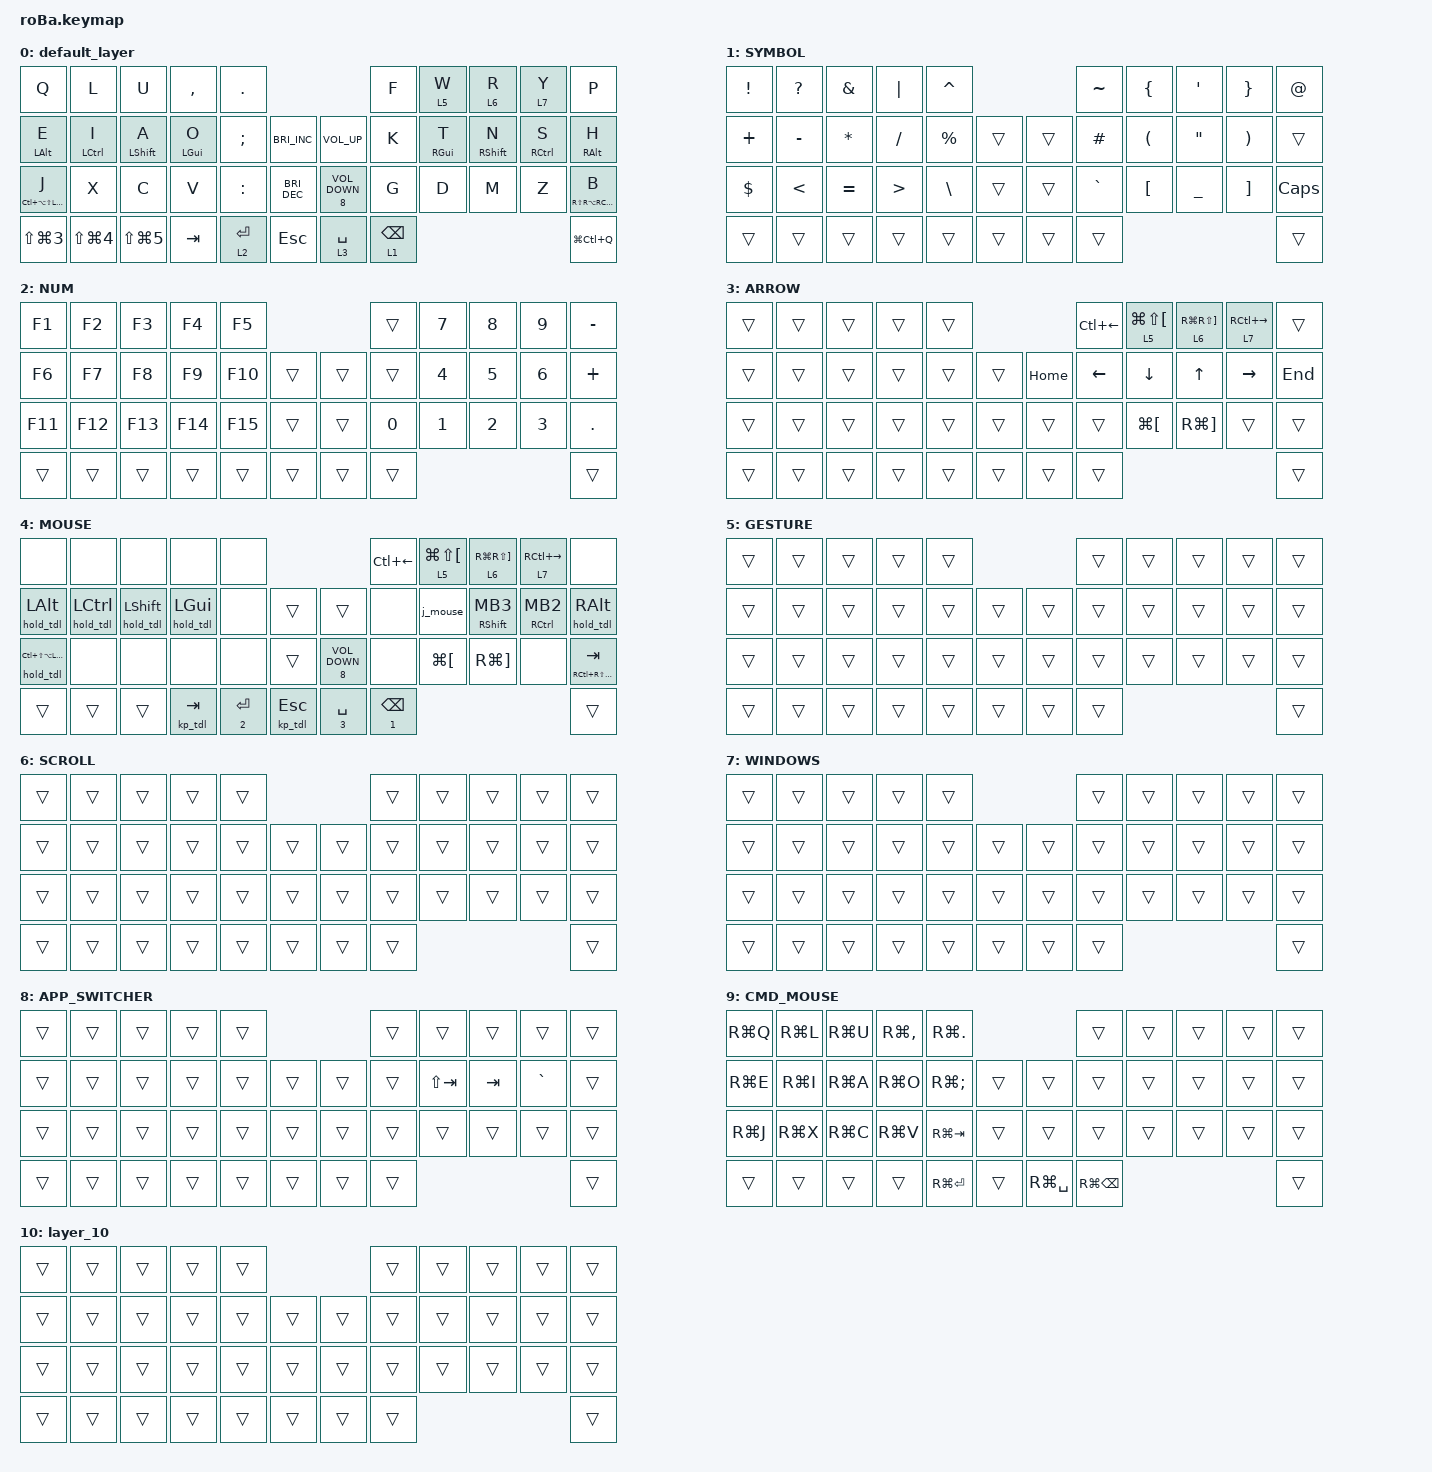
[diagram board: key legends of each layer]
#include <behaviors.dtsi>
#include <dt-bindings/zmk/keys.h>
#include <dt-bindings/zmk/pointing.h>

&mt {
    flavor = "balanced";
    quick-tap-ms = <0>;
};

&trackball {
    automouse-layer = <4>;
    scroll-layers = <6>;

    gesture {
        layers = <5>;
        bindings =
            <&kp LG(LC(F))>,
            <&kp LA(LC(LEFT_ARROW))>,
            <&kp LA(LC(UP_ARROW))>,
            <&kp LA(LC(DOWN_ARROW))>;

        tick = <120>;
        wait-ms = <5>;
        tap-ms = <5>;
    };

    window {
        layers = <7>;
        bindings =
            <&kp LG(LC(RIGHT_ARROW))>,
            <&kp LG(LC(LEFT_ARROW))>,
            <&kp LG(LC(UP_ARROW))>,
            <&kp LG(LC(DOWN_ARROW))>;

        tick = <120>;
        wait-ms = <5>;
        tap-ms = <5>;
    };
};

/ {
    combos {
        compatible = "zmk,combos";

        kana {
            bindings = <&mt_tdl RS(RIGHT_GUI) LANGUAGE_1>;
            key-positions = <18 19>;
        };

        eisuu {
            bindings = <&mt_tdl LS(LEFT_GUI) LANGUAGE_2>;
            key-positions = <13 12>;
        };

        mute {
            bindings = <&kp K_MUTE>;
            key-positions = <16 28>;
        };

        xn {
            bindings = <&xn_macro>;
            key-positions = <20 19>;
        };
    };

    macros {
        kp_tdl: to_layer_0 {
            compatible = "zmk,behavior-macro-one-param";
            #binding-cells = <1>;
            bindings = <&to 0 &macro_param_1to1 &kp MACRO_PLACEHOLDER>;
            label = "TO_LAYER_0";
        };

        hold_tdl: to_layer_0_hold {
            compatible = "zmk,behavior-macro-one-param";
            #binding-cells = <1>;
            bindings =
                <&to 0>,
                <&macro_press>,
                <&macro_param_1to1 &kp MACRO_PLACEHOLDER>,
                <&macro_pause_for_release>,
                <&macro_release>,
                <&macro_param_1to1 &kp MACRO_PLACEHOLDER>;

            label = "TO_LAYER_0_HOLD";
        };

        hold_tdl_aml: to_layer_0_hold_aml {
            compatible = "zmk,behavior-macro-one-param";
            #binding-cells = <1>;
            wait-ms = <0>;
            tap-ms = <0>;
            bindings =
                <&to 0>,
                <&macro_press>,
                <&macro_param_1to1 &kp MACRO_PLACEHOLDER>,
                <&macro_pause_for_release>,
                <&macro_release>,
                <&macro_param_1to1 &kp MACRO_PLACEHOLDER>;

            label = "TO_LAYER_0_HOLD_AML";
        };

        j_mouse: j_cmd_mouse {
            compatible = "zmk,behavior-macro";
            #binding-cells = <0>;
            wait-ms = <0>;
            tap-ms = <0>;
            bindings =
                <&macro_press>,
                <&mo 9 &mkp MB1>,
                <&macro_pause_for_release>,
                <&macro_release>,
                <&mo 9 &mkp MB1>;

            label = "J_CMD_MOUSE";
        };

        mo_tdl: to_layer_0_mo {
            compatible = "zmk,behavior-macro-one-param";
            #binding-cells = <1>;
            bindings =
                <&to 0>,
                <&macro_press>,
                <&macro_param_1to1 &mo MACRO_PLACEHOLDER>,
                <&macro_pause_for_release>,
                <&macro_release>,
                <&macro_param_1to1 &mo MACRO_PLACEHOLDER>;

            label = "TO_LAYER_0_MO";
        };

        as: hold_app_switch {
            compatible = "zmk,behavior-macro-one-param";
            #binding-cells = <1>;
            wait-ms = <0>;
            tap-ms = <0>;
            bindings =
                <&macro_press>,
                <&macro_param_1to1 &mo MACRO_PLACEHOLDER &kp LEFT_GUI>,
                <&macro_pause_for_release>,
                <&macro_release>,
                <&macro_param_1to1 &mo MACRO_PLACEHOLDER &kp LEFT_GUI>;
        };

        as_tdl: as_tdl {
            compatible = "zmk,behavior-macro-one-param";
            #binding-cells = <1>;
            wait-ms = <0>;
            tap-ms = <0>;
            bindings =
                <&to 0>,
                <&macro_press>,
                <&macro_param_1to1 &mo MACRO_PLACEHOLDER &kp LEFT_GUI>,
                <&macro_pause_for_release>,
                <&macro_release>,
                <&macro_param_1to1 &mo MACRO_PLACEHOLDER &kp LEFT_GUI>;

            label = "AS_TDL";
        };

        xn_macro: zn_macro {
            compatible = "zmk,behavior-macro";
            #binding-cells = <0>;
            bindings = <&kp X &kp N>;
            label = "ZN_MACRO";
        };
    };

    behaviors {
        behaviors {
            my_lt: my_lt {
                compatible = "zmk,behavior-hold-tap";
                label = "MY_LT";
                #binding-cells = <2>;
                flavor = "hold-preferred";
                tapping-term-ms = <150>;
                quick-tap-ms = <200>;
                bindings = <&mo>, <&kp>;
            };

            my_mt: my_mt {
                compatible = "zmk,behavior-hold-tap";
                label = "MY_MT";
                bindings = <&kp>, <&kp>;

                #binding-cells = <2>;
                tapping-term-ms = <150>;
                hold-while-undecided;
            };

            hrm_r: hrm_r {
                compatible = "zmk,behavior-hold-tap";
                label = "HRM Right";
                bindings = <&kp>, <&kp>;

                #binding-cells = <2>;
                hold-trigger-key-positions = <0 1 2 3 4 10 11 12 13 14 15 22 23 24 25 26 27 34 35 36 37 38 39 41 40>;
                flavor = "balanced";
                tapping-term-ms = <250>;
                retro-tap;
                quick-tap-ms = <150>;
                require-prior-idle-ms = <120>;
                hold-trigger-on-release;
            };

            hrm_l: hrm_l {
                compatible = "zmk,behavior-hold-tap";
                label = "HRM_L";
                bindings = <&kp>, <&kp>;

                #binding-cells = <2>;
                flavor = "balanced";
                tapping-term-ms = <250>;
                hold-trigger-key-positions = <5 6 7 8 9 16 17 18 19 20 21 28 29 30 31 32 33 40 41 42 37 38 39>;
                retro-tap;
                quick-tap-ms = <150>;
                require-prior-idle-ms = <120>;
                hold-trigger-on-release;
            };

            mt_tdl: mt_tdl {
                compatible = "zmk,behavior-hold-tap";
                label = "MT_TDL";
                bindings = <&hold_tdl>, <&kp_tdl>;

                #binding-cells = <2>;
                tapping-term-ms = <150>;
                hold-while-undecided;
            };

            lt_tdl: lt_tdl {
                compatible = "zmk,behavior-hold-tap";
                label = "LT_TDL";
                #binding-cells = <2>;
                flavor = "hold-preferred";
                tapping-term-ms = <150>;
                bindings = <&mo_tdl>, <&kp_tdl>;

                hold-while-undecided;
            };

            lt_aml: lt_aml {
                compatible = "zmk,behavior-hold-tap";
                label = "LT_AML";
                #binding-cells = <2>;
                flavor = "balanced";
                tapping-term-ms = <150>;
                quick-tap-ms = <200>;
                require-prior-idle-ms = <175>;
                bindings = <&mo>, <&kp>;

                hold-while-undecided;
            };

            lt_as: lt_as {
                compatible = "zmk,behavior-hold-tap";
                label = "LT_AS";
                #binding-cells = <2>;
                flavor = "hold-preferred";
                tapping-term-ms = <150>;
                quick-tap-ms = <200>;
                bindings = <&as>, <&kp>;
            };

            lt_as_tdl: lt_as_tdl {
                compatible = "zmk,behavior-hold-tap";
                label = "LT_AS_TDL";
                #binding-cells = <2>;
                flavor = "hold-preferred";
                tapping-term-ms = <150>;
                bindings = <&as_tdl>, <&kp_tdl>;

                hold-while-undecided;
            };

            mt_aml: mt_aml {
                compatible = "zmk,behavior-hold-tap";
                label = "MT_AML";
                bindings = <&hold_tdl>, <&mkp>;

                #binding-cells = <2>;
                tapping-term-ms = <150>;
                hold-while-undecided;
            };
        };
    };

    keymap {
        compatible = "zmk,keymap";

        default_layer {
            bindings = <
&kp Q                          &kp L                  &kp U                &kp COMMA          &kp PERIOD                                                        &kp F               &lt_aml 5 W         &lt_aml 6 R           &lt_aml 7 Y             &kp P
&hrm_l LEFT_ALT E              &hrm_l LEFT_CONTROL I  &hrm_l LEFT_SHIFT A  &hrm_l LEFT_GUI O  &kp SEMICOLON   &kp C_BRIGHTNESS_INC      &kp C_VOLUME_UP         &kp K               &hrm_r RIGHT_GUI T  &hrm_r RIGHT_SHIFT N  &hrm_r RIGHT_CONTROL S  &hrm_r RIGHT_ALT H
&hrm_l LC(LA(LS(LEFT_GUI))) J  &kp X                  &kp C                &kp V              &kp COLON       &kp C_BRIGHTNESS_DEC      &lt_as 8 C_VOLUME_DOWN  &kp G               &kp D               &kp M                 &kp Z                   &hrm_r RS(RA(RC(RIGHT_GUI))) B
&kp LS(LG(NUMBER_3))           &kp LS(LG(NUMBER_4))   &kp LS(LG(N5))       &kp TAB            &my_lt 2 ENTER  &kp ESCAPE                &my_lt 3 SPACE          &my_lt 1 BACKSPACE                                                                    &kp LG(LC(Q))
            >;
        };

        SYMBOL {
            bindings = <
&kp EXCLAMATION  &kp QUESTION   &kp AMPERSAND  &kp PIPE          &kp CARET                          &kp TILDE  &kp LEFT_BRACE        &kp APOSTROPHE     &kp RIGHT_BRACE        &kp AT
&kp PLUS         &kp MINUS      &kp ASTRK      &kp FSLH          &kp PERCENT    &trans      &trans  &kp HASH   &kp LEFT_PARENTHESIS  &kp DOUBLE_QUOTES  &kp RIGHT_PARENTHESIS  &trans
&kp DOLLAR       &kp LESS_THAN  &kp EQUAL      &kp GREATER_THAN  &kp BACKSLASH  &trans      &trans  &kp GRAVE  &kp LEFT_BRACKET      &kp UNDERSCORE     &kp RIGHT_BRACKET      &kp CAPSLOCK
&trans           &trans         &trans         &trans            &trans         &trans      &trans  &trans                                                                     &trans
            >;
        };

        NUM {
            bindings = <
&kp F1   &kp F2   &kp F3   &kp F4   &kp F5                       &trans  &kp N7  &kp N8  &kp N9  &kp MINUS
&kp F6   &kp F7   &kp F8   &kp F9   &kp F10  &trans      &trans  &trans  &kp N4  &kp N5  &kp N6  &kp PLUS
&kp F11  &kp F12  &kp F13  &kp F14  &kp F15  &trans      &trans  &kp N0  &kp N1  &kp N2  &kp N3  &kp DOT
&trans   &trans   &trans   &trans   &trans   &trans      &trans  &trans                          &trans
            >;
        };

        ARROW {
            bindings = <
&trans  &trans  &trans  &trans  &trans                        &kp LC(LEFT_ARROW)  &lt_aml 5 LG(LS(LEFT_BRACKET))  &lt_aml 6 RG(RS(RIGHT_BRACKET))  &lt_aml 7 RC(RIGHT_ARROW)  &trans
&trans  &trans  &trans  &trans  &trans  &trans      &kp HOME  &kp LEFT            &kp DOWN                        &kp UP                           &kp RIGHT                  &kp END
&trans  &trans  &trans  &trans  &trans  &trans      &trans    &trans              &kp LG(LEFT_BRACKET)            &kp RG(RIGHT_BRACKET)            &trans                     &trans
&trans  &trans  &trans  &trans  &trans  &trans      &trans    &trans                                                                                                          &trans
            >;
        };

        MOUSE {
            bindings = <
&none                           &none                   &none                 &none               &none                                                            &kp LC(LEFT_ARROW)   &lt_aml 5 LG(LS(LEFT_BRACKET))  &lt_aml 6 RG(RS(RIGHT_BRACKET))  &lt_aml 7 RC(RIGHT_ARROW)  &none
&hold_tdl LEFT_ALT              &hold_tdl LEFT_CONTROL  &hold_tdl LEFT_SHIFT  &hold_tdl LEFT_GUI  &none            &trans              &trans                      &none                &j_mouse                        &mt_aml RIGHT_SHIFT MB3          &mt_aml RIGHT_CONTROL MB2  &hold_tdl RIGHT_ALT
&hold_tdl LC(LS(LA(LEFT_GUI)))  &none                   &none                 &none               &none            &trans              &lt_as_tdl 8 C_VOLUME_DOWN  &none                &kp LG(LEFT_BRACKET)            &kp RG(RIGHT_BRACKET)            &none                      &mt_tdl RC(RS(RA(RIGHT_GUI))) TAB
&trans                          &trans                  &trans                &kp_tdl TAB         &lt_tdl 2 ENTER  &kp_tdl ESCAPE      &lt_tdl 3 SPACE             &lt_tdl 1 BACKSPACE                                                                                              &trans
            >;
        };

        GESTURE {
            bindings = <
&trans  &trans  &trans  &trans  &trans                      &trans  &trans  &trans  &trans  &trans
&trans  &trans  &trans  &trans  &trans  &trans      &trans  &trans  &trans  &trans  &trans  &trans
&trans  &trans  &trans  &trans  &trans  &trans      &trans  &trans  &trans  &trans  &trans  &trans
&trans  &trans  &trans  &trans  &trans  &trans      &trans  &trans                          &trans
            >;
        };

        SCROLL {
            bindings = <
&trans  &trans  &trans  &trans  &trans                      &trans  &trans  &trans  &trans  &trans
&trans  &trans  &trans  &trans  &trans  &trans      &trans  &trans  &trans  &trans  &trans  &trans
&trans  &trans  &trans  &trans  &trans  &trans      &trans  &trans  &trans  &trans  &trans  &trans
&trans  &trans  &trans  &trans  &trans  &trans      &trans  &trans                          &trans
            >;
        };

        WINDOWS {
            bindings = <
&trans  &trans  &trans  &trans  &trans                      &trans  &trans  &trans  &trans  &trans
&trans  &trans  &trans  &trans  &trans  &trans      &trans  &trans  &trans  &trans  &trans  &trans
&trans  &trans  &trans  &trans  &trans  &trans      &trans  &trans  &trans  &trans  &trans  &trans
&trans  &trans  &trans  &trans  &trans  &trans      &trans  &trans                          &trans
            >;
        };

        APP_SWITCHER {
            bindings = <
&trans  &trans  &trans  &trans  &trans                      &trans  &trans       &trans   &trans     &trans
&trans  &trans  &trans  &trans  &trans  &trans      &trans  &trans  &kp LS(TAB)  &kp TAB  &kp GRAVE  &trans
&trans  &trans  &trans  &trans  &trans  &trans      &trans  &trans  &trans       &trans   &trans     &trans
&trans  &trans  &trans  &trans  &trans  &trans      &trans  &trans                                   &trans
            >;
        };

        CMD_MOUSE {
            bindings = <
&kp RG(Q)  &kp RG(L)  &kp RG(U)  &kp RG(COMMA)  &kp RG(PERIOD)                                &trans             &trans  &trans  &trans  &trans
&kp RG(E)  &kp RG(I)  &kp RG(A)  &kp RG(O)      &kp RG(SEMICOLON)  &trans      &trans         &trans             &trans  &trans  &trans  &trans
&kp RG(J)  &kp RG(X)  &kp RG(C)  &kp RG(V)      &kp RG(TAB)        &trans      &trans         &trans             &trans  &trans  &trans  &trans
&trans     &trans     &trans     &trans         &kp RG(ENTER)      &trans      &kp RG(SPACE)  &kp RG(BACKSPACE)                          &trans
            >;
        };

        layer_10 {
            bindings = <
&trans  &trans  &trans  &trans  &trans                      &trans  &trans  &trans  &trans  &trans
&trans  &trans  &trans  &trans  &trans  &trans      &trans  &trans  &trans  &trans  &trans  &trans
&trans  &trans  &trans  &trans  &trans  &trans      &trans  &trans  &trans  &trans  &trans  &trans
&trans  &trans  &trans  &trans  &trans  &trans      &trans  &trans                          &trans
            >;
        };
    };
};
